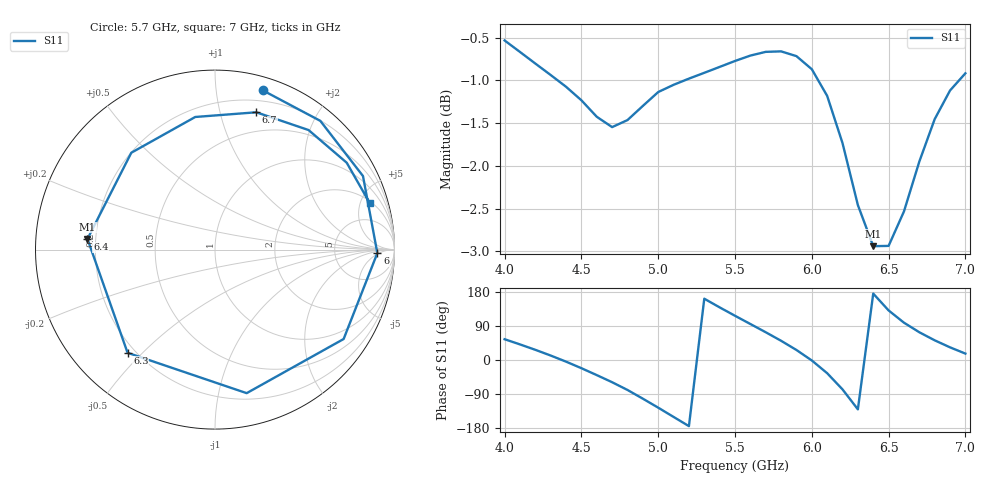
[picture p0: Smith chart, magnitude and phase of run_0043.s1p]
! Touchstone file exported from HFSS 2024.2.0
!  File:  C:/Users/wsak9/Desktop/Sim Fast/Widenad Patch/WP_AI_V1_sweep.aedt
!  Generated:  04:37:44 PM Oct 13, 2026
!  Design:  A1_model
!  Project:  WP_AI_V1_sweep
!  Setup:  Setup1
!  Solution:  Sweep
! Variables:
!  Air_gap = 2.96mm
!  Curve_Amp1 = 0.83
!  Curve_len1 = 1
!  Curve_pos = 10.02mm
!  Extra = 7.15mm
!  H_sub = 0.79mm
!  L_Patch = 16.04mm
!  L_Patch1 = 22.99mm
!  Sx = 2.37mm
!  Sy = 2.3mm
!  WS = 0.58mm
!  W_Patch = 11.32mm
!  W_Patch1 = 15.84mm
!Data is not renormalized
# GHz S MA
! Terminal data exported
! Port[1] = 1
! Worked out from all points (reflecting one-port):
!   31 points, 4 GHz to 7 GHz, reference per port
!   lowest |S11| = -2.9 dB at 6.4 GHz (marker M1), VSWR 5.97
!   phase of S11 starts at 55 deg and turns -758 deg over the sweep
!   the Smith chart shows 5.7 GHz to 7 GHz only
!   S11 on the Smith chart (normalised r, x): 5.7 GHz: 0.11, +1.34; 6 GHz: 19, -4; 6.3 GHz: 0.17, -0.45; 6.4 GHz: 0.17, +0.04; 6.7 GHz: 0.31, +1.30; 7 GHz: 2.17, +5.96
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4  0.9404 54.8
4.2  0.9116 26.9
4.4  0.8835 -4.4
4.5  0.8676 -21.6
4.6  0.8486 -39.9
4.8  0.8448 -79.1
4.9  0.861 -102.1
5  0.8773 -125.8
5.1  0.8859 -150.2
5.2  0.8933 -174.5
5.3  0.9003 161.8
5.4  0.9075 138.9
5.5  0.9148 116.7
5.6  0.9214 95.0
5.7  0.9261 73.2
5.8  0.9267 50.7
5.9  0.9207 26.4
6  0.9047 -1.2
6.1  0.8728 -34.8
6.2  0.819 -77.6
6.3  0.7535 -130.3
6.4  0.7129 175.2
6.5  0.7132 130.8
6.6  0.747 98.5
6.7  0.7989 73.3
6.8  0.8458 51.9
6.9  0.8791 33.4
7  0.8997 16.9
